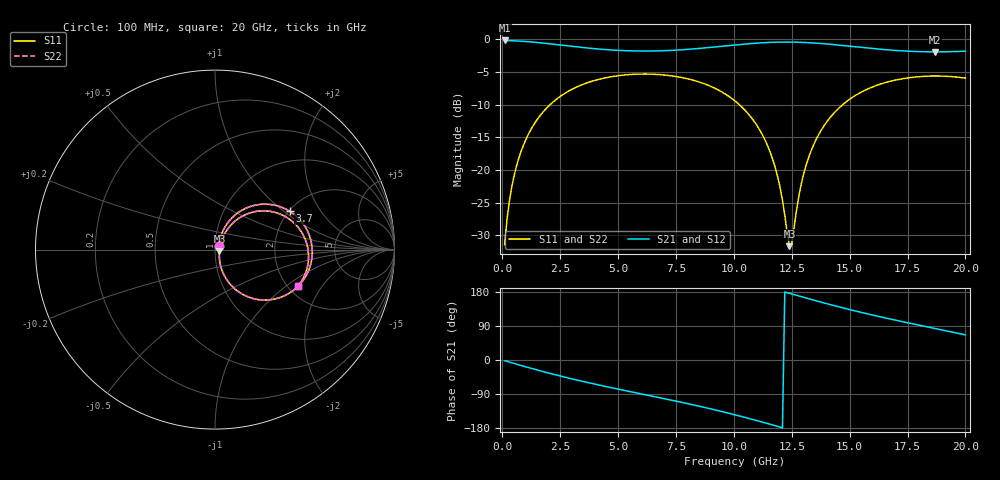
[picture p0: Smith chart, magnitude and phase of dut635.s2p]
! Touchstone file exported from HFSS 2026.1.0
!  File:  C:/ffzhzh/LocalFiles/Ansys_Project_Files/temp_train_TSV_RDL_635_1783126565_50312.aedt
!  Generated:  09:12:31 AM Jul  4, 2026
!  Design:  TSV_RDL
!  Project:  temp_train_TSV_RDL_635_1783126565_50312
! Variables:
!  h_bsmrdl = 3.46um
!  h_ox = 20um
!  h_rdl = 5um
!  h_sub = 61.93um
!  h_tmrdl = 5.18um
!  h_tsv = 61.93um
!  h_via = 3um
!  l_bsmrdl = 349.92um
!  l_sub = 5246.32um
!  l_tmrdl = 917.67um
!  m_sub = 200um
!  pitch = 54.4um
!  r_tsv = 6.5um
!  s_tmrdl = 10um
!  w_bsmrdl = 12.02um
!  w_sub = 500um
!  w_tmrdl = 29.94um
!  x_tsv_center1 = 932.64um
!  x_tsv_center2 = 1294.58um
!  x_tsv_center3 = 2242.19um
!  x_tsv_center4 = 2604.13um
!  x_tsv_center5 = 3551.74um
!  x_tsv_center6 = 3913.68um
# GHz S MA R 50.000000
! Terminal data exported
! Port[1] = TM_RDL1_1_T1
! Port[2] = TM_RDL5_1_T1
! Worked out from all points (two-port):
!   200 points, 100 MHz to 20 GHz, reference 50 ohm
!   highest |S21| = -0.17 dB at 100 MHz (marker M1); lowest = -1.9 dB at 18.7 GHz (marker M2)
!   |S21| within 3 dB of the highest: start of sweep to end of sweep
!   lowest |S11| = -31.7 dB at 12.4 GHz (marker M3), VSWR 1.05, Z = 52.5 - j0.871 ohm
!   |S11| at or under -10 dB: start of sweep to 2.065 GHz; 10.24 GHz to 14.7 GHz (4.461 GHz wide, 35.8 % of centre)
!   |S22| runs from -31.6 to -5.3 dB; largest |S21 - S12| = 1.6e-14
!   S11 on the Smith chart (normalised r, x): 100 MHz: 1.04, +0.04; 3.7 GHz: 2.02, +1.10; 20 GHz: 2.25, -1.23
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0.1  0.02681 41.6  0.9804 -1.9  0.9804 -1.9  0.02681 41.6
! Gamma 0 0 0 0
! Port Impedance 50 0 50 0
0.3  0.05689 62.7  0.9775 -5.5  0.9775 -5.5  0.05689 62.7
0.5  0.0889 66.7  0.9744 -9.0  0.9744 -9.0  0.0889 66.7
1.1  0.1837 63.2  0.9598 -19.5  0.9598 -19.5  0.1837 63.2
2.1  0.3206 49.5  0.9219 -36.0  0.9219 -36.0  0.3206 49.5
3.5  0.4537 29.9  0.8644 -56.8  0.8644 -56.8  0.4536 30.0
3.7  0.4672 27.3  0.8573 -59.6  0.8573 -59.6  0.4672 27.3
5.3  0.5341 7.2  0.8188 -80.6  0.8188 -80.6  0.5341 7.2
6.8  0.5371 -10.9  0.8165 -99.5  0.8165 -99.5  0.5371 -10.9
8.6  0.4653 -33.5  0.8549 -123.2  0.8549 -123.2  0.4653 -33.4
10.1  0.3322 -53.7  0.9072 -145.4  0.9072 -145.4  0.3321 -53.7
11  0.2187 -65.7  0.9354 -160.0  0.9354 -160.0  0.2187 -65.6
11.6  0.1324 -71.1  0.9479 -170.2  0.9479 -170.2  0.1323 -71.1
12  0.07301 -68.5  0.9522 -177.1  0.9522 -177.1  0.07299 -68.5
12.4  0.02615 -18.5  0.9528 176.0  0.9528 176.0  0.02618 -18.4
12.5  0.02736 13.8  0.9524 174.3  0.9524 174.3  0.02741 13.9
13  0.09108 57.9  0.9469 165.6  0.9469 165.6  0.09112 57.9
13.4  0.1494 57.7  0.9388 158.8  0.9388 158.8  0.1494 57.7
14.7  0.3163 42.4  0.897 137.7  0.897 137.7  0.3163 42.4
16.7  0.475 16.2  0.8292 108.9  0.8292 108.9  0.475 16.2
18.7  0.5241 -8.2  0.8018 83.0  0.8018 83.0  0.5241 -8.2
20  0.5051 -23.8  0.8121 66.3  0.8121 66.3  0.5051 -23.8
